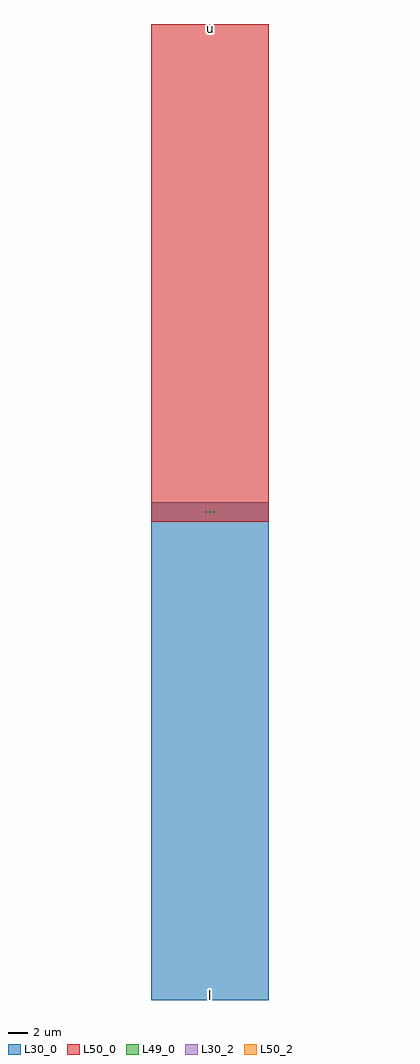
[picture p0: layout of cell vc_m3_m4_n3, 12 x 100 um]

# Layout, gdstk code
import gdstk
lib = gdstk.Library(unit=1e-6, precision=1e-09)
def R(c, l, rs):  # rectangles x0, y0, x1, y1
    for r in rs: c.add(gdstk.rectangle(r[:2], r[2:], *l))
def A(c, l, x, y, w, h, nx, ny, dx, dy):  # array of equal rectangles
    R(c, l, [(x+i*dx, y+j*dy, x+i*dx+w, y+j*dy+h) for i in range(nx) for j in range(ny)])
L30_0 = (30, 0)
L30_2 = (30, 2)
L49_0 = (49, 0)
L50_0 = (50, 0)
L50_2 = (50, 2)

vc_m3_m4_n3 = lib.new_cell('vc_m3_m4_n3')
R(vc_m3_m4_n3, L30_0, [(0,0,12,51)])
R(vc_m3_m4_n3, L30_2, [(5.9,0.4,6.1,0.6)])
A(vc_m3_m4_n3, L49_0, 5.495, 49.905, 0.19, 0.19, 3, 1, 0.41, 0)
R(vc_m3_m4_n3, L50_0, [(0,49,12,100)])
R(vc_m3_m4_n3, L50_2, [(5.9,99.4,6.1,99.6)])
vc_m3_m4_n3.add(gdstk.Label('l', (6,0.5), layer=30, texttype=2))
vc_m3_m4_n3.add(gdstk.Label('u', (6,99.5), layer=50, texttype=2))

lib.write_gds('vc_m3_m4_n3.gds')
